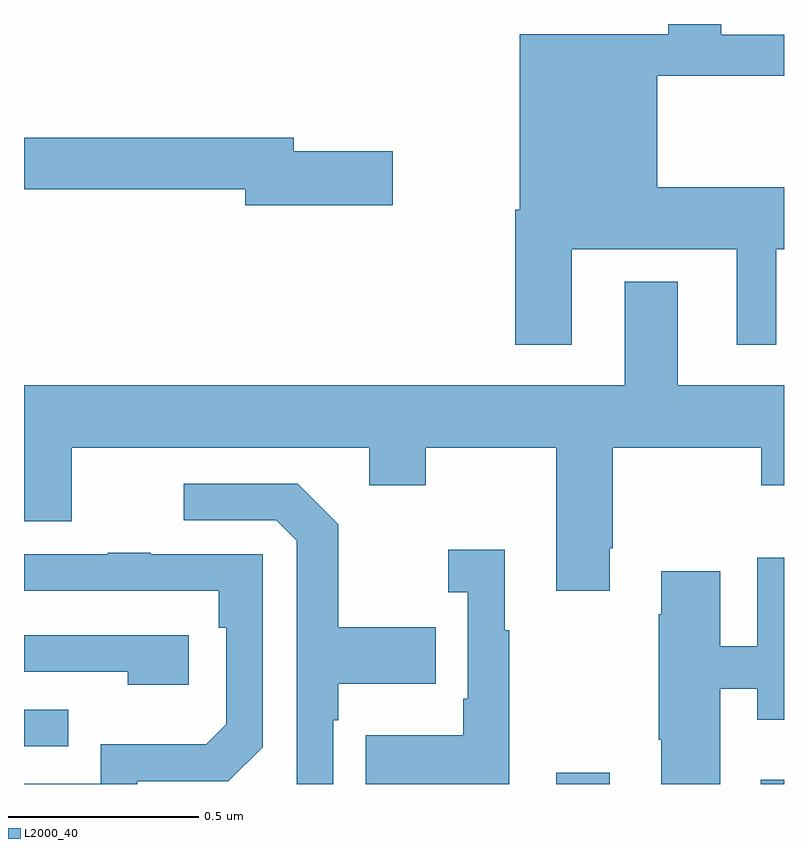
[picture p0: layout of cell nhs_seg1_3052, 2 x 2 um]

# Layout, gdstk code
import gdstk
lib = gdstk.Library(unit=1e-6, precision=1e-09)
def R(c, l, rs):  # rectangles x0, y0, x1, y1
    for r in rs: c.add(gdstk.rectangle(r[:2], r[2:], *l))
def P(c, l, *ps):  # polygons
    for p in ps: c.add(gdstk.Polygon(p, *l))
L2000_40 = (2000, 40)

nhs_seg1_3052 = lib.new_cell('nhs_seg1_3052')
R(nhs_seg1_3052, L2000_40, [(150.401,532.199,150.541,532.228), (150.939,532.199,151,532.21), (149,532.299,149.117,532.395)])
P(nhs_seg1_3052, L2000_40, [(150.442,533.606),(150.875,533.606),(150.875,533.355),(150.979,533.355),(150.979,533.606),(151,533.606),(151,533.77),(150.667,533.77),(150.667,534.063),(151,534.063),(151,534.171),(150.835,534.171),(150.835,534.199),(150.695,534.199),(150.695,534.172),(150.305,534.172),(150.305,533.71),(150.293,533.71),(150.293,533.355),(150.442,533.355)],
  [(149.971,533.864),(149.71,533.864),(149.71,533.9),(149,533.9),(149,533.764),(149.582,533.764),(149.582,533.722),(149.971,533.722)],
  [(149,532.89),(149.125,532.89),(149.125,533.084),(149.909,533.084),(149.909,532.985),(150.057,532.985),(150.057,533.084),(150.401,533.084),(150.401,532.707),(150.541,532.707),(150.541,532.819),(150.549,532.819),(150.549,533.084),(150.94,533.084),(150.94,532.985),(151,532.985),(151,533.248),(150.721,533.248),(150.721,533.521),(150.581,533.521),(150.581,533.248),(149,533.248)],
  [(149.814,532.367),(149.827,532.367),(149.827,532.463),(150.083,532.463),(150.083,532.611),(149.827,532.611),(149.827,532.883),(149.721,532.989),(149.421,532.989),(149.421,532.893),(149.664,532.893),(149.718,532.839),(149.718,532.199),(149.814,532.199)],
  [(150.277,532.603),(150.265,532.603),(150.265,532.816),(150.117,532.816),(150.117,532.703),(150.168,532.703),(150.168,532.423),(150.156,532.423),(150.156,532.327),(149.899,532.327),(149.899,532.199),(150.277,532.199)],
  [(149.298,532.206),(149.538,532.206),(149.628,532.296),(149.628,532.803),(149.333,532.803),(149.333,532.808),(149.221,532.808),(149.221,532.803),(149,532.803),(149,532.707),(149.512,532.707),(149.512,532.61),(149.532,532.61),(149.532,532.356),(149.479,532.303),(149.202,532.303),(149.202,532.2),(149,532.2),(149,532.199),(149.298,532.199)],
  [(150.832,532.45),(150.929,532.45),(150.929,532.368),(151,532.368),(151,532.795),(150.929,532.795),(150.929,532.561),(150.832,532.561),(150.832,532.759),(150.677,532.759),(150.677,532.646),(150.67,532.646),(150.67,532.315),(150.677,532.315),(150.677,532.199),(150.832,532.199)],
  [(149.434,532.59),(149,532.59),(149,532.494),(149.273,532.494),(149.273,532.46),(149.434,532.46)])

lib.write_gds('nhs_seg1_3052.gds')
